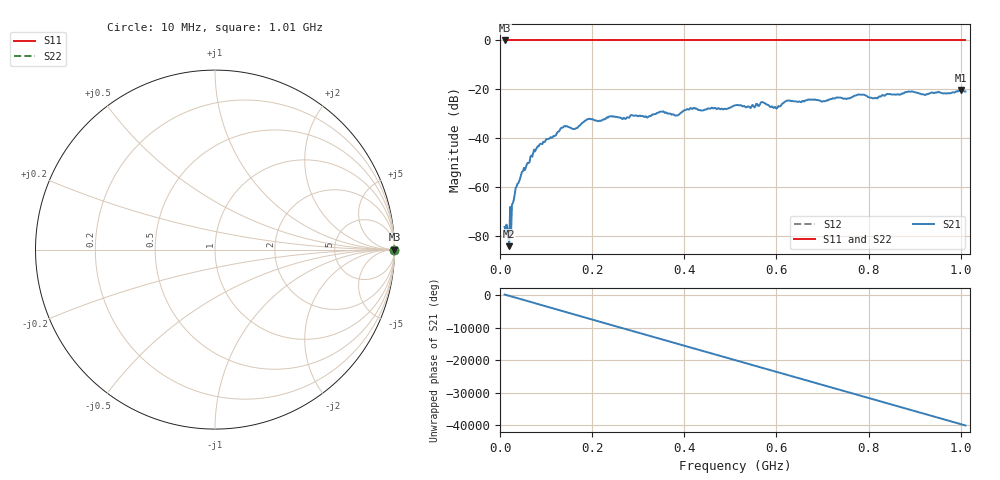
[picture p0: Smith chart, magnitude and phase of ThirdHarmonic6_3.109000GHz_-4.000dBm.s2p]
! 8/17/2025 9:11:34 AM
! C:\ANRITSUVNA\TEMP\TEMP.S2P
! CHANNEL.1
! TR.MEASUREMENT
! RAW.DATA
! RF.CORRECTION.OFF
! AVERAGING.OFF
! IF.BANDWIDTH: 5KHZ
! SWEEPTYPE:  FREQ.SWEEP(Linear)
! Reference Plane Port Info
! PORT:  PORT1  PORT2
! DISTANCE:  0  m  0  m
! TIME:  0  s  0  s
! PHASE.OFFSET:  0  deg.  0  deg.
! LOSS:  0  dB  0  dB
! REF.LOSS:  0  dB  0  dB
! REF.FREQ:  0  Hz  0  Hz
! Power Info
! POWER:  -20  dBm  -20  dBm
! EFF.POWER:  -20  dBm  -20  dBm
! SOURCE.ATTEN:  0  dB  0  dB
! TEST.ATTEN:  0  dB  0  dB
# GHZ S RI R 50.0
! FREQ.GHZ  S11RE  S11IM  S21RE  S21IM  S12RE  S12IM  S22RE  S22IM
!; PortSelection: Port_12
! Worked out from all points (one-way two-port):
!   501 points, 10 MHz to 1.01 GHz, reference 50 ohm
!   highest |S21| = -20.29 dB at 1 GHz (marker M1); lowest = -84.2 dB at 20 MHz (marker M2)
!   lowest |S11| = 0.0 dB at 10 MHz (marker M3)
!   |S11| at or under -10 dB: nowhere
!   |S22| runs from 0.0 to 0.0 dB; largest |S21 - S12| = 1.1
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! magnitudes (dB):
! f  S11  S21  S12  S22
! 10 MHz  0.0  -76.3  0.0  0.0
! 16 MHz  0.0  -76.7  0.0  0.0
! 18 MHz  0.0  -79.2  0.0  0.0
! 20 MHz  0.0  -84.2  0.0  0.0
! 30 MHz  0.0  -65.1  0.0  0.0
! 36 MHz  0.0  -59.7  0.0  0.0
! 48 MHz  0.0  -53.7  0.0  0.0
! 78 MHz  0.0  -44.6  0.0  0.0
! 136 MHz  0.0  -35.7  0.0  0.0
! 162 MHz  0.0  -36.2  0.0  0.0
! 178 MHz  0.0  -33.8  0.0  0.0
! 344 MHz  0.0  -29.6  0.0  0.0
! 384 MHz  0.0  -30.7  0.0  0.0
! 416 MHz  0.0  -27.9  0.0  0.0
! 510 MHz  0.0  -26.6  0.0  0.0
! 570 MHz  0.0  -25.2  0.0  0.0
! 598 MHz  0.0  -27.3  0.0  0.0
! 624 MHz  0.0  -24.6  0.0  0.0
! 678 MHz  0.0  -24.2  0.0  0.0
! 844 MHz  0.0  -22.0  0.0  0.0
! 1 GHz  0.0  -20.3  0.0  0.0
! 1.01 GHz  0.0  -20.9  0.0  0.0
